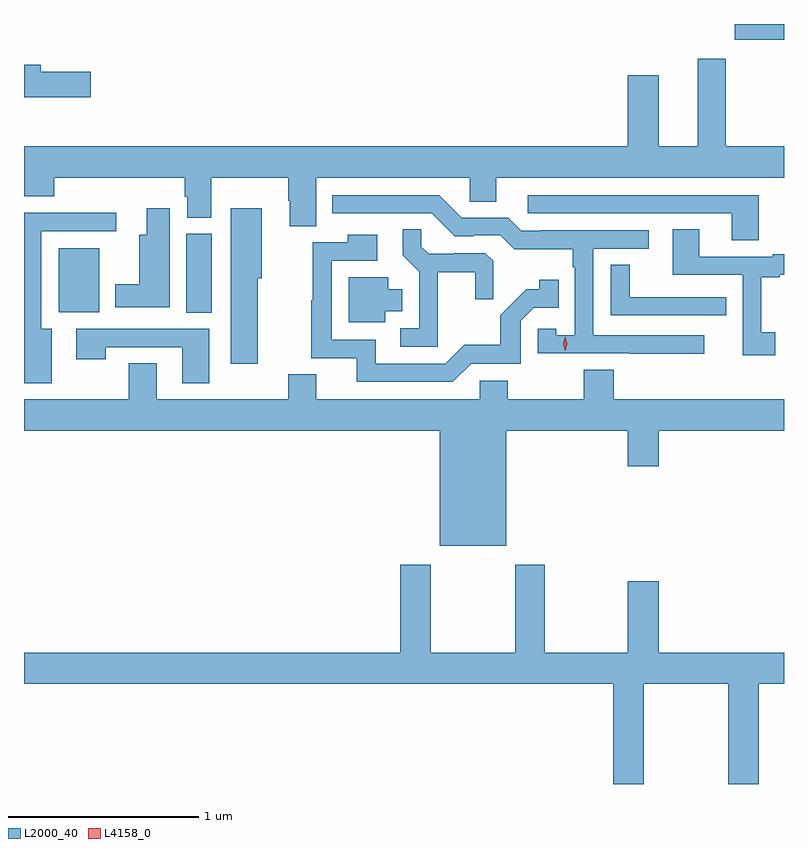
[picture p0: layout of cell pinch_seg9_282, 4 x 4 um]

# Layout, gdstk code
import gdstk
lib = gdstk.Library(unit=1e-6, precision=1e-09)
def R(c, l, rs):  # rectangles x0, y0, x1, y1
    for r in rs: c.add(gdstk.rectangle(r[:2], r[2:], *l))
def P(c, l, *ps):  # polygons
    for p in ps: c.add(gdstk.Polygon(p, *l))
L2000_40 = (2000, 40)
L4158_0 = (4158, 0)

pinch_seg9_282 = lib.new_cell('pinch_seg9_282')
R(pinch_seg9_282, L2000_40, [(450.398,1185.052,450.532,1185.468), (449.726,1185.056,449.938,1185.391), (453.284,1186.49,453.543,1186.572)])
P(pinch_seg9_282, L2000_40, [(451.081,1185.764),(451.89,1185.764),(451.89,1185.637),(452.029,1185.637),(452.029,1185.764),(453.543,1185.764),(453.543,1185.928),(453.237,1185.928),(453.237,1186.39),(453.089,1186.39),(453.089,1185.928),(452.884,1185.928),(452.884,1186.303),(452.72,1186.303),(452.72,1185.928),(449.543,1185.928),(449.543,1185.665),(449.702,1185.665),(449.702,1185.764),(450.389,1185.764),(450.389,1185.663),(450.401,1185.663),(450.401,1185.553),(450.529,1185.553),(450.529,1185.764),(450.934,1185.764),(450.934,1185.642),(450.941,1185.642),(450.941,1185.508),(451.081,1185.508)],
  [(449.893,1186.322),(449.632,1186.322),(449.632,1186.358),(449.543,1186.358),(449.543,1186.187),(449.893,1186.187)],
  [(453.409,1185.672),(452.193,1185.672),(452.193,1185.576),(453.269,1185.576),(453.269,1185.433),(453.409,1185.433)],
  [(453.124,1184.934),(452.538,1184.934),(452.538,1185.39),(452.83,1185.39),(452.83,1185.486),(452.26,1185.486),(452.26,1185.483),(452.16,1185.483),(452.091,1185.552),(451.848,1185.552),(451.728,1185.672),(451.166,1185.672),(451.166,1185.576),(451.689,1185.576),(451.809,1185.456),(451.91,1185.456),(451.91,1185.459),(452.049,1185.459),(452.122,1185.386),(452.43,1185.386),(452.43,1185.293),(452.442,1185.293),(452.442,1184.935),(452.343,1184.935),(452.343,1184.967),(452.247,1184.967),(452.247,1184.838),(452.731,1184.838),(452.731,1184.836),(453.124,1184.836)],
  [(450.31,1185.601),(450.188,1185.601),(450.188,1185.463),(450.149,1185.463),(450.149,1185.202),(450.023,1185.202),(450.023,1185.08),(450.31,1185.08)],
  [(450.774,1185.234),(450.793,1185.234),(450.793,1185.601),(450.632,1185.601),(450.632,1184.784),(450.774,1184.784)],
  [(449.689,1184.968),(449.635,1184.968),(449.635,1185.48),(450.028,1185.48),(450.028,1185.578),(449.543,1185.578),(449.543,1184.682),(449.689,1184.682)],
  [(451.721,1185.266),(451.918,1185.266),(451.918,1185.123),(452.012,1185.123),(452.012,1185.325),(451.971,1185.366),(451.806,1185.366),(451.806,1185.363),(451.672,1185.363),(451.635,1185.4),(451.635,1185.491),(451.537,1185.491),(451.537,1185.355),(451.623,1185.269),(451.623,1184.97),(451.524,1184.97),(451.524,1184.874),(451.721,1184.874)],
  [(453.496,1184.949),(453.424,1184.949),(453.424,1185.24),(453.52,1185.24),(453.52,1185.252),(453.543,1185.252),(453.543,1185.361),(453.485,1185.361),(453.485,1185.348),(453.097,1185.348),(453.097,1185.491),(452.957,1185.491),(452.957,1185.252),(453.327,1185.252),(453.327,1184.829),(453.496,1184.829)],
  [(451.896,1184.784),(452.157,1184.784),(452.157,1185.009),(452.226,1185.078),(452.357,1185.078),(452.357,1185.226),(452.256,1185.226),(452.256,1185.176),(452.186,1185.176),(452.049,1185.038),(452.049,1184.883),(451.86,1184.883),(451.761,1184.784),(451.393,1184.784),(451.393,1184.91),(451.164,1184.91),(451.164,1185.327),(451.402,1185.327),(451.402,1185.463),(451.246,1185.463),(451.246,1185.423),(451.063,1185.423),(451.063,1185.119),(451.056,1185.119),(451.056,1184.814),(451.295,1184.814),(451.295,1184.688),(451.8,1184.688)],
  [(453.238,1185.134),(453.125,1185.134),(453.125,1185.135),(452.73,1185.135),(452.73,1185.305),(452.631,1185.305),(452.631,1185.039),(453.238,1185.039)],
  [(451.444,1185.059),(451.534,1185.059),(451.534,1185.175),(451.459,1185.175),(451.459,1185.238),(451.253,1185.238),(451.253,1185.002),(451.444,1185.002)],
  [(450.517,1184.967),(449.817,1184.967),(449.817,1184.808),(449.973,1184.808),(449.973,1184.871),(450.377,1184.871),(450.377,1184.682),(450.517,1184.682)],
  [(452.08,1184.432),(452.72,1184.432),(452.72,1184.244),(452.884,1184.244),(452.884,1184.432),(453.543,1184.432),(453.543,1184.596),(452.648,1184.596),(452.648,1184.753),(452.488,1184.753),(452.488,1184.596),(452.088,1184.596),(452.088,1184.694),(451.941,1184.694),(451.941,1184.596),(451.081,1184.596),(451.081,1184.729),(450.934,1184.729),(450.934,1184.596),(450.241,1184.596),(450.241,1184.786),(450.094,1184.786),(450.094,1184.596),(449.543,1184.596),(449.543,1184.432),(451.73,1184.432),(451.73,1183.826),(452.08,1183.826)],
  [(452.805,1183.1),(453.25,1183.1),(453.25,1182.572),(453.41,1182.572),(453.41,1183.1),(453.543,1183.1),(453.543,1183.264),(452.884,1183.264),(452.884,1183.639),(452.72,1183.639),(452.72,1183.264),(452.283,1183.264),(452.283,1183.726),(452.128,1183.726),(452.128,1183.264),(451.683,1183.264),(451.683,1183.726),(451.523,1183.726),(451.523,1183.264),(449.543,1183.264),(449.543,1183.1),(452.645,1183.1),(452.645,1182.572),(452.805,1182.572)])
P(pinch_seg9_282, L4158_0, [(452.391,1184.853),(452.391,1184.853),(452.381,1184.889),(452.391,1184.925),(452.391,1184.926),(452.391,1184.925),(452.401,1184.889),(452.391,1184.853)])

lib.write_gds('pinch_seg9_282.gds')
